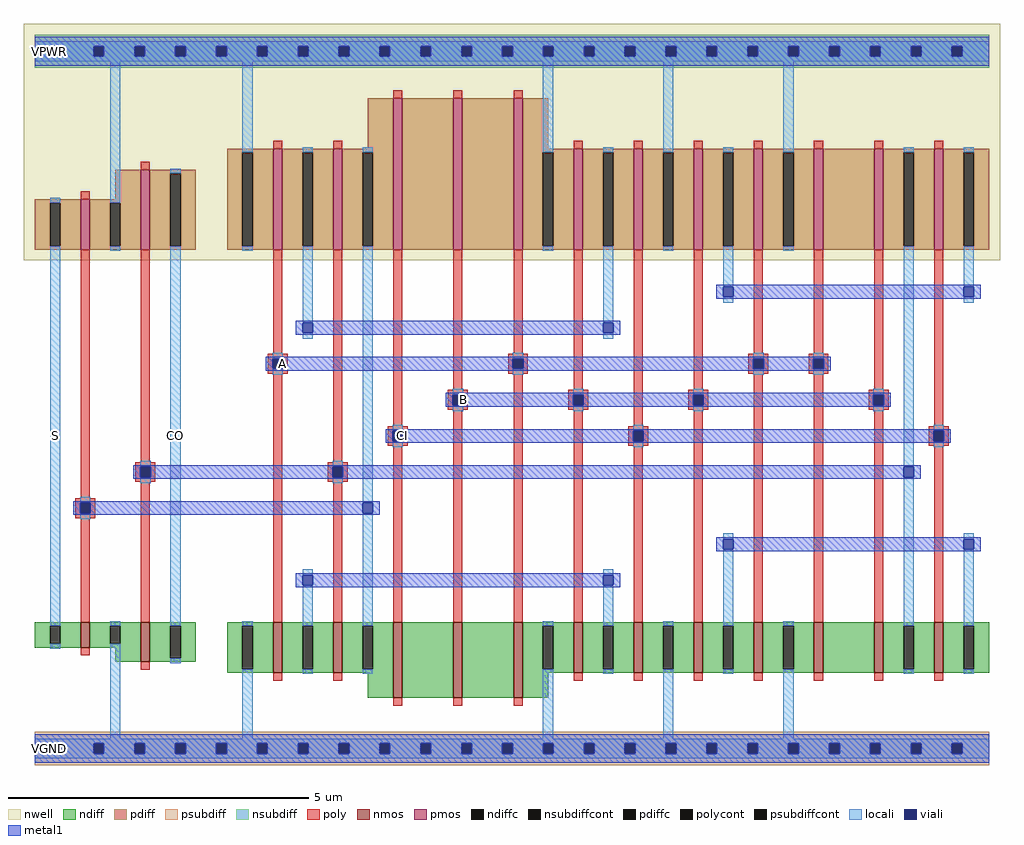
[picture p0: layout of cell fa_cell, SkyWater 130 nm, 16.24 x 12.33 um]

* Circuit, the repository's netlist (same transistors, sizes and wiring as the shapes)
* 28T mirror full adder, sizing S2 = S1 + LE-sized CO inverter (W = k * W_unit, k = stack depth of the branch)
* W_unit: nfet 0.42 um, pfet 0.84 um (le.wn_unit_um / le.wp_unit_um), L = 0.15 um
* COb = ~MAJ(A,B,CI) (carry gate, 10T) ; CO = ~COb (inverter)
* Sb  = ~(A^B^CI)     (sum gate using COb, 14T) ; S = ~Sb (inverter)
.subckt fa_cell A B CI S CO VPWR VGND
* ---- carry gate: PUN (k=2) ----
XPC1 cpx  A  VPWR VPWR sky130_fd_pr__pfet_01v8 W=1.68 L=0.15
XPC2 cpx  B  VPWR VPWR sky130_fd_pr__pfet_01v8 W=1.68 L=0.15
XPC3 COb  CI cpx  VPWR sky130_fd_pr__pfet_01v8 W=1.68 L=0.15
XPC4 cpy  A  VPWR VPWR sky130_fd_pr__pfet_01v8 W=1.68 L=0.15
XPC5 COb  B  cpy  VPWR sky130_fd_pr__pfet_01v8 W=1.68 L=0.15
* ---- carry gate: PDN (k=2) ----
XNC1 cnx  A  VGND VGND sky130_fd_pr__nfet_01v8 W=0.84 L=0.15
XNC2 cnx  B  VGND VGND sky130_fd_pr__nfet_01v8 W=0.84 L=0.15
XNC3 COb  CI cnx  VGND sky130_fd_pr__nfet_01v8 W=0.84 L=0.15
XNC4 cny  A  VGND VGND sky130_fd_pr__nfet_01v8 W=0.84 L=0.15
XNC5 COb  B  cny  VGND sky130_fd_pr__nfet_01v8 W=0.84 L=0.15
* ---- sum gate: PUN, (A|B|CI) parallel + COb series (k=2) ----
XPS1 spz  A   VPWR VPWR sky130_fd_pr__pfet_01v8 W=1.68 L=0.15
XPS2 spz  B   VPWR VPWR sky130_fd_pr__pfet_01v8 W=1.68 L=0.15
XPS3 spz  CI  VPWR VPWR sky130_fd_pr__pfet_01v8 W=1.68 L=0.15
XPS4 Sb   COb spz  VPWR sky130_fd_pr__pfet_01v8 W=1.68 L=0.15
* ---- sum gate: PUN, A-B-CI series (k=3) ----
XPS5 spw1 A   VPWR VPWR sky130_fd_pr__pfet_01v8 W=2.52 L=0.15
XPS6 spw2 B   spw1 VPWR sky130_fd_pr__pfet_01v8 W=2.52 L=0.15
XPS7 Sb   CI  spw2 VPWR sky130_fd_pr__pfet_01v8 W=2.52 L=0.15
* ---- sum gate: PDN (mirror) ----
XNS1 snz  A   VGND VGND sky130_fd_pr__nfet_01v8 W=0.84 L=0.15
XNS2 snz  B   VGND VGND sky130_fd_pr__nfet_01v8 W=0.84 L=0.15
XNS3 snz  CI  VGND VGND sky130_fd_pr__nfet_01v8 W=0.84 L=0.15
XNS4 Sb   COb snz  VGND sky130_fd_pr__nfet_01v8 W=0.84 L=0.15
XNS5 snw1 A   VGND VGND sky130_fd_pr__nfet_01v8 W=1.26 L=0.15
XNS6 snw2 B   snw1 VGND sky130_fd_pr__nfet_01v8 W=1.26 L=0.15
XNS7 Sb   CI  snw2 VGND sky130_fd_pr__nfet_01v8 W=1.26 L=0.15
* ---- output inverters: CO inverter = 1.58 x unit (optimal_sizes, stage 4) ----
XPI1 CO COb VPWR VPWR sky130_fd_pr__pfet_01v8 W=1.33 L=0.15
XNI1 CO COb VGND VGND sky130_fd_pr__nfet_01v8 W=0.66 L=0.15
XPI2 S  Sb  VPWR VPWR sky130_fd_pr__pfet_01v8 W=0.84 L=0.15
XNI2 S  Sb  VGND VGND sky130_fd_pr__nfet_01v8 W=0.42 L=0.15
.ends fa_cell

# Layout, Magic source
magic
tech sky130A
magscale 1 2
<< nwell >>
rect -4 1624 3244 2411
<< nmos >>
rect 185 336 215 420
rect 385 288 415 420
rect 825 252 855 420
rect 1025 252 1055 420
rect 1225 168 1255 420
rect 1425 168 1455 420
rect 1625 168 1655 420
rect 1825 252 1855 420
rect 2025 252 2055 420
rect 2225 252 2255 420
rect 2425 252 2455 420
rect 2625 252 2655 420
rect 2825 252 2855 420
rect 3025 252 3055 420
<< pmos >>
rect 185 1660 215 1828
rect 385 1660 415 1926
rect 825 1660 855 1996
rect 1025 1660 1055 1996
rect 1225 1660 1255 2164
rect 1425 1660 1455 2164
rect 1625 1660 1655 2164
rect 1825 1660 1855 1996
rect 2025 1660 2055 1996
rect 2225 1660 2255 1996
rect 2425 1660 2455 1996
rect 2625 1660 2655 1996
rect 2825 1660 2855 1996
rect 3025 1660 3055 1996
<< ndiff >>
rect 32 408 185 420
rect 32 348 83 408
rect 117 348 185 408
rect 32 336 185 348
rect 215 408 385 420
rect 215 348 283 408
rect 317 348 385 408
rect 215 336 385 348
rect 300 288 385 336
rect 415 408 568 420
rect 415 300 483 408
rect 517 300 568 408
rect 415 288 568 300
rect 672 408 825 420
rect 672 264 723 408
rect 757 264 825 408
rect 672 252 825 264
rect 855 408 1025 420
rect 855 264 923 408
rect 957 264 1025 408
rect 855 252 1025 264
rect 1055 408 1225 420
rect 1055 264 1123 408
rect 1157 264 1225 408
rect 1055 252 1225 264
rect 1140 168 1225 252
rect 1255 168 1425 420
rect 1455 168 1625 420
rect 1655 408 1825 420
rect 1655 264 1723 408
rect 1757 264 1825 408
rect 1655 252 1825 264
rect 1855 408 2025 420
rect 1855 264 1923 408
rect 1957 264 2025 408
rect 1855 252 2025 264
rect 2055 408 2225 420
rect 2055 264 2123 408
rect 2157 264 2225 408
rect 2055 252 2225 264
rect 2255 408 2425 420
rect 2255 264 2323 408
rect 2357 264 2425 408
rect 2255 252 2425 264
rect 2455 408 2625 420
rect 2455 264 2523 408
rect 2557 264 2625 408
rect 2455 252 2625 264
rect 2655 252 2825 420
rect 2855 408 3025 420
rect 2855 264 2923 408
rect 2957 264 3025 408
rect 2855 252 3025 264
rect 3055 408 3208 420
rect 3055 264 3123 408
rect 3157 264 3208 408
rect 3055 252 3208 264
rect 1655 168 1740 252
<< pdiff >>
rect 1140 1996 1225 2164
rect 672 1984 825 1996
rect 300 1828 385 1926
rect 32 1816 185 1828
rect 32 1672 83 1816
rect 117 1672 185 1816
rect 32 1660 185 1672
rect 215 1816 385 1828
rect 215 1672 283 1816
rect 317 1672 385 1816
rect 215 1660 385 1672
rect 415 1914 568 1926
rect 415 1672 483 1914
rect 517 1672 568 1914
rect 415 1660 568 1672
rect 672 1672 723 1984
rect 757 1672 825 1984
rect 672 1660 825 1672
rect 855 1984 1025 1996
rect 855 1672 923 1984
rect 957 1672 1025 1984
rect 855 1660 1025 1672
rect 1055 1984 1225 1996
rect 1055 1672 1123 1984
rect 1157 1672 1225 1984
rect 1055 1660 1225 1672
rect 1255 1660 1425 2164
rect 1455 1660 1625 2164
rect 1655 1996 1740 2164
rect 1655 1984 1825 1996
rect 1655 1672 1723 1984
rect 1757 1672 1825 1984
rect 1655 1660 1825 1672
rect 1855 1984 2025 1996
rect 1855 1672 1923 1984
rect 1957 1672 2025 1984
rect 1855 1660 2025 1672
rect 2055 1984 2225 1996
rect 2055 1672 2123 1984
rect 2157 1672 2225 1984
rect 2055 1660 2225 1672
rect 2255 1984 2425 1996
rect 2255 1672 2323 1984
rect 2357 1672 2425 1984
rect 2255 1660 2425 1672
rect 2455 1984 2625 1996
rect 2455 1672 2523 1984
rect 2557 1672 2625 1984
rect 2455 1660 2625 1672
rect 2655 1660 2825 1996
rect 2855 1984 3025 1996
rect 2855 1672 2923 1984
rect 2957 1672 3025 1984
rect 2855 1660 3025 1672
rect 3055 1984 3208 1996
rect 3055 1672 3123 1984
rect 3157 1672 3208 1984
rect 3055 1660 3208 1672
<< ndiffc >>
rect 83 348 117 408
rect 283 348 317 408
rect 483 300 517 408
rect 723 264 757 408
rect 923 264 957 408
rect 1123 264 1157 408
rect 1723 264 1757 408
rect 1923 264 1957 408
rect 2123 264 2157 408
rect 2323 264 2357 408
rect 2523 264 2557 408
rect 2923 264 2957 408
rect 3123 264 3157 408
<< pdiffc >>
rect 83 1672 117 1816
rect 283 1672 317 1816
rect 483 1672 517 1914
rect 723 1672 757 1984
rect 923 1672 957 1984
rect 1123 1672 1157 1984
rect 1723 1672 1757 1984
rect 1923 1672 1957 1984
rect 2123 1672 2157 1984
rect 2323 1672 2357 1984
rect 2523 1672 2557 1984
rect 2923 1672 2957 1984
rect 3123 1672 3157 1984
<< psubdiff >>
rect 32 17 3208 55
rect 32 -17 92 17
rect 126 -17 228 17
rect 262 -17 364 17
rect 398 -17 500 17
rect 534 -17 636 17
rect 670 -17 772 17
rect 806 -17 908 17
rect 942 -17 1044 17
rect 1078 -17 1180 17
rect 1214 -17 1316 17
rect 1350 -17 1452 17
rect 1486 -17 1588 17
rect 1622 -17 1724 17
rect 1758 -17 1860 17
rect 1894 -17 1996 17
rect 2030 -17 2132 17
rect 2166 -17 2268 17
rect 2302 -17 2404 17
rect 2438 -17 2540 17
rect 2574 -17 2676 17
rect 2710 -17 2812 17
rect 2846 -17 2948 17
rect 2982 -17 3084 17
rect 3118 -17 3208 17
rect 32 -55 3208 -17
<< nsubdiff >>
rect 32 2337 3208 2375
rect 32 2303 92 2337
rect 126 2303 228 2337
rect 262 2303 364 2337
rect 398 2303 500 2337
rect 534 2303 636 2337
rect 670 2303 772 2337
rect 806 2303 908 2337
rect 942 2303 1044 2337
rect 1078 2303 1180 2337
rect 1214 2303 1316 2337
rect 1350 2303 1452 2337
rect 1486 2303 1588 2337
rect 1622 2303 1724 2337
rect 1758 2303 1860 2337
rect 1894 2303 1996 2337
rect 2030 2303 2132 2337
rect 2166 2303 2268 2337
rect 2302 2303 2404 2337
rect 2438 2303 2540 2337
rect 2574 2303 2676 2337
rect 2710 2303 2812 2337
rect 2846 2303 2948 2337
rect 2982 2303 3084 2337
rect 3118 2303 3208 2337
rect 32 2265 3208 2303
<< psubdiffcont >>
rect 92 -17 126 17
rect 228 -17 262 17
rect 364 -17 398 17
rect 500 -17 534 17
rect 636 -17 670 17
rect 772 -17 806 17
rect 908 -17 942 17
rect 1044 -17 1078 17
rect 1180 -17 1214 17
rect 1316 -17 1350 17
rect 1452 -17 1486 17
rect 1588 -17 1622 17
rect 1724 -17 1758 17
rect 1860 -17 1894 17
rect 1996 -17 2030 17
rect 2132 -17 2166 17
rect 2268 -17 2302 17
rect 2404 -17 2438 17
rect 2540 -17 2574 17
rect 2676 -17 2710 17
rect 2812 -17 2846 17
rect 2948 -17 2982 17
rect 3084 -17 3118 17
<< nsubdiffcont >>
rect 92 2303 126 2337
rect 228 2303 262 2337
rect 364 2303 398 2337
rect 500 2303 534 2337
rect 636 2303 670 2337
rect 772 2303 806 2337
rect 908 2303 942 2337
rect 1044 2303 1078 2337
rect 1180 2303 1214 2337
rect 1316 2303 1350 2337
rect 1452 2303 1486 2337
rect 1588 2303 1622 2337
rect 1724 2303 1758 2337
rect 1860 2303 1894 2337
rect 1996 2303 2030 2337
rect 2132 2303 2166 2337
rect 2268 2303 2302 2337
rect 2404 2303 2438 2337
rect 2540 2303 2574 2337
rect 2676 2303 2710 2337
rect 2812 2303 2846 2337
rect 2948 2303 2982 2337
rect 3084 2303 3118 2337
<< poly >>
rect 1225 2164 1255 2190
rect 1425 2164 1455 2190
rect 1625 2164 1655 2190
rect 825 1996 855 2022
rect 1025 1996 1055 2022
rect 385 1926 415 1952
rect 185 1828 215 1854
rect 1825 1996 1855 2022
rect 2025 1996 2055 2022
rect 2225 1996 2255 2022
rect 2425 1996 2455 2022
rect 2625 1996 2655 2022
rect 2825 1996 2855 2022
rect 3025 1996 3055 2022
rect 185 833 215 1660
rect 385 953 415 1660
rect 825 1313 855 1660
rect 807 1297 873 1313
rect 807 1263 823 1297
rect 857 1263 873 1297
rect 807 1247 873 1263
rect 367 937 433 953
rect 367 903 383 937
rect 417 903 433 937
rect 367 887 433 903
rect 167 817 233 833
rect 167 783 183 817
rect 217 783 233 817
rect 167 767 233 783
rect 185 420 215 767
rect 385 420 415 887
rect 825 420 855 1247
rect 1025 953 1055 1660
rect 1225 1073 1255 1660
rect 1425 1193 1455 1660
rect 1625 1313 1655 1660
rect 1607 1297 1673 1313
rect 1607 1263 1623 1297
rect 1657 1263 1673 1297
rect 1607 1247 1673 1263
rect 1407 1177 1473 1193
rect 1407 1143 1423 1177
rect 1457 1143 1473 1177
rect 1407 1127 1473 1143
rect 1207 1057 1273 1073
rect 1207 1023 1223 1057
rect 1257 1023 1273 1057
rect 1207 1007 1273 1023
rect 1007 937 1073 953
rect 1007 903 1023 937
rect 1057 903 1073 937
rect 1007 887 1073 903
rect 1025 420 1055 887
rect 1225 420 1255 1007
rect 1425 420 1455 1127
rect 1625 420 1655 1247
rect 1825 1193 1855 1660
rect 1807 1177 1873 1193
rect 1807 1143 1823 1177
rect 1857 1143 1873 1177
rect 1807 1127 1873 1143
rect 1825 420 1855 1127
rect 2025 1073 2055 1660
rect 2225 1193 2255 1660
rect 2425 1313 2455 1660
rect 2625 1313 2655 1660
rect 2407 1297 2473 1313
rect 2407 1263 2423 1297
rect 2457 1263 2473 1297
rect 2407 1247 2473 1263
rect 2607 1297 2673 1313
rect 2607 1263 2623 1297
rect 2657 1263 2673 1297
rect 2607 1247 2673 1263
rect 2207 1177 2273 1193
rect 2207 1143 2223 1177
rect 2257 1143 2273 1177
rect 2207 1127 2273 1143
rect 2007 1057 2073 1073
rect 2007 1023 2023 1057
rect 2057 1023 2073 1057
rect 2007 1007 2073 1023
rect 2025 420 2055 1007
rect 2225 420 2255 1127
rect 2425 420 2455 1247
rect 2625 420 2655 1247
rect 2825 1193 2855 1660
rect 2807 1177 2873 1193
rect 2807 1143 2823 1177
rect 2857 1143 2873 1177
rect 2807 1127 2873 1143
rect 2825 420 2855 1127
rect 3025 1073 3055 1660
rect 3007 1057 3073 1073
rect 3007 1023 3023 1057
rect 3057 1023 3073 1057
rect 3007 1007 3073 1023
rect 3025 420 3055 1007
rect 185 310 215 336
rect 385 262 415 288
rect 825 226 855 252
rect 1025 226 1055 252
rect 1825 226 1855 252
rect 2025 226 2055 252
rect 2225 226 2255 252
rect 2425 226 2455 252
rect 2625 226 2655 252
rect 2825 226 2855 252
rect 3025 226 3055 252
rect 1225 142 1255 168
rect 1425 142 1455 168
rect 1625 142 1655 168
<< polycont >>
rect 823 1263 857 1297
rect 383 903 417 937
rect 183 783 217 817
rect 1623 1263 1657 1297
rect 1423 1143 1457 1177
rect 1223 1023 1257 1057
rect 1023 903 1057 937
rect 1823 1143 1857 1177
rect 2423 1263 2457 1297
rect 2623 1263 2657 1297
rect 2223 1143 2257 1177
rect 2023 1023 2057 1057
rect 2823 1143 2857 1177
rect 3023 1023 3057 1057
<< locali >>
rect 32 2337 3208 2353
rect 32 2303 92 2337
rect 126 2303 228 2337
rect 262 2303 364 2337
rect 398 2303 500 2337
rect 534 2303 636 2337
rect 670 2303 772 2337
rect 806 2303 908 2337
rect 942 2303 1044 2337
rect 1078 2303 1180 2337
rect 1214 2303 1316 2337
rect 1350 2303 1452 2337
rect 1486 2303 1588 2337
rect 1622 2303 1724 2337
rect 1758 2303 1860 2337
rect 1894 2303 1996 2337
rect 2030 2303 2132 2337
rect 2166 2303 2268 2337
rect 2302 2303 2404 2337
rect 2438 2303 2540 2337
rect 2574 2303 2676 2337
rect 2710 2303 2812 2337
rect 2846 2303 2948 2337
rect 2982 2303 3084 2337
rect 3118 2303 3208 2337
rect 32 2287 3208 2303
rect 83 1816 117 1832
rect 83 408 117 1672
rect 283 1816 317 2287
rect 723 1984 757 2287
rect 283 1656 317 1672
rect 483 1914 517 1930
rect 383 937 417 957
rect 383 883 417 903
rect 183 817 217 837
rect 183 763 217 783
rect 83 332 117 348
rect 283 408 317 424
rect 283 33 317 348
rect 483 408 517 1672
rect 723 1656 757 1672
rect 923 1984 957 2000
rect 923 1417 957 1672
rect 923 1363 957 1383
rect 1123 1984 1157 2000
rect 823 1297 857 1317
rect 823 1243 857 1263
rect 1023 937 1057 957
rect 1023 883 1057 903
rect 1123 817 1157 1672
rect 1723 1984 1757 2287
rect 1723 1656 1757 1672
rect 1923 1984 1957 2000
rect 1923 1417 1957 1672
rect 2123 1984 2157 2287
rect 2123 1656 2157 1672
rect 2323 1984 2357 2000
rect 2323 1537 2357 1672
rect 2523 1984 2557 2287
rect 2523 1656 2557 1672
rect 2923 1984 2957 2000
rect 2323 1483 2357 1503
rect 1923 1363 1957 1383
rect 1623 1297 1657 1317
rect 1623 1243 1657 1263
rect 2423 1297 2457 1317
rect 2423 1243 2457 1263
rect 2623 1297 2657 1317
rect 2623 1243 2657 1263
rect 1423 1177 1457 1197
rect 1423 1123 1457 1143
rect 1823 1177 1857 1197
rect 1823 1123 1857 1143
rect 2223 1177 2257 1197
rect 2223 1123 2257 1143
rect 2823 1177 2857 1197
rect 2823 1123 2857 1143
rect 1223 1057 1257 1077
rect 1223 1003 1257 1023
rect 2023 1057 2057 1077
rect 2023 1003 2057 1023
rect 923 577 957 597
rect 483 284 517 300
rect 723 408 757 424
rect 723 33 757 264
rect 923 408 957 543
rect 923 248 957 264
rect 1123 408 1157 783
rect 2923 937 2957 1672
rect 3123 1984 3157 2000
rect 3123 1537 3157 1672
rect 3123 1483 3157 1503
rect 3023 1057 3057 1077
rect 3023 1003 3057 1023
rect 2323 697 2357 717
rect 1923 577 1957 597
rect 1123 248 1157 264
rect 1723 408 1757 424
rect 1723 33 1757 264
rect 1923 408 1957 543
rect 1923 248 1957 264
rect 2123 408 2157 424
rect 2123 33 2157 264
rect 2323 408 2357 663
rect 2323 248 2357 264
rect 2523 408 2557 424
rect 2523 33 2557 264
rect 2923 408 2957 903
rect 2923 248 2957 264
rect 3123 697 3157 717
rect 3123 408 3157 663
rect 3123 248 3157 264
rect 32 17 3208 33
rect 32 -17 92 17
rect 126 -17 228 17
rect 262 -17 364 17
rect 398 -17 500 17
rect 534 -17 636 17
rect 670 -17 772 17
rect 806 -17 908 17
rect 942 -17 1044 17
rect 1078 -17 1180 17
rect 1214 -17 1316 17
rect 1350 -17 1452 17
rect 1486 -17 1588 17
rect 1622 -17 1724 17
rect 1758 -17 1860 17
rect 1894 -17 1996 17
rect 2030 -17 2132 17
rect 2166 -17 2268 17
rect 2302 -17 2404 17
rect 2438 -17 2540 17
rect 2574 -17 2676 17
rect 2710 -17 2812 17
rect 2846 -17 2948 17
rect 2982 -17 3084 17
rect 3118 -17 3208 17
rect 32 -33 3208 -17
<< viali >>
rect 92 2303 126 2337
rect 228 2303 262 2337
rect 364 2303 398 2337
rect 500 2303 534 2337
rect 636 2303 670 2337
rect 772 2303 806 2337
rect 908 2303 942 2337
rect 1044 2303 1078 2337
rect 1180 2303 1214 2337
rect 1316 2303 1350 2337
rect 1452 2303 1486 2337
rect 1588 2303 1622 2337
rect 1724 2303 1758 2337
rect 1860 2303 1894 2337
rect 1996 2303 2030 2337
rect 2132 2303 2166 2337
rect 2268 2303 2302 2337
rect 2404 2303 2438 2337
rect 2540 2303 2574 2337
rect 2676 2303 2710 2337
rect 2812 2303 2846 2337
rect 2948 2303 2982 2337
rect 3084 2303 3118 2337
rect 383 903 417 937
rect 183 783 217 817
rect 923 1383 957 1417
rect 823 1263 857 1297
rect 1023 903 1057 937
rect 2323 1503 2357 1537
rect 1923 1383 1957 1417
rect 1623 1263 1657 1297
rect 2423 1263 2457 1297
rect 2623 1263 2657 1297
rect 1423 1143 1457 1177
rect 1823 1143 1857 1177
rect 2223 1143 2257 1177
rect 2823 1143 2857 1177
rect 1223 1023 1257 1057
rect 2023 1023 2057 1057
rect 1123 783 1157 817
rect 923 543 957 577
rect 3123 1503 3157 1537
rect 3023 1023 3057 1057
rect 2923 903 2957 937
rect 2323 663 2357 697
rect 1923 543 1957 577
rect 3123 663 3157 697
rect 92 -17 126 17
rect 228 -17 262 17
rect 364 -17 398 17
rect 500 -17 534 17
rect 636 -17 670 17
rect 772 -17 806 17
rect 908 -17 942 17
rect 1044 -17 1078 17
rect 1180 -17 1214 17
rect 1316 -17 1350 17
rect 1452 -17 1486 17
rect 1588 -17 1622 17
rect 1724 -17 1758 17
rect 1860 -17 1894 17
rect 1996 -17 2030 17
rect 2132 -17 2166 17
rect 2268 -17 2302 17
rect 2404 -17 2438 17
rect 2540 -17 2574 17
rect 2676 -17 2710 17
rect 2812 -17 2846 17
rect 2948 -17 2982 17
rect 3084 -17 3118 17
<< metal1 >>
rect 32 2337 3208 2368
rect 32 2303 92 2337
rect 126 2303 228 2337
rect 262 2303 364 2337
rect 398 2303 500 2337
rect 534 2303 636 2337
rect 670 2303 772 2337
rect 806 2303 908 2337
rect 942 2303 1044 2337
rect 1078 2303 1180 2337
rect 1214 2303 1316 2337
rect 1350 2303 1452 2337
rect 1486 2303 1588 2337
rect 1622 2303 1724 2337
rect 1758 2303 1860 2337
rect 1894 2303 1996 2337
rect 2030 2303 2132 2337
rect 2166 2303 2268 2337
rect 2302 2303 2404 2337
rect 2438 2303 2540 2337
rect 2574 2303 2676 2337
rect 2710 2303 2812 2337
rect 2846 2303 2948 2337
rect 2982 2303 3084 2337
rect 3118 2303 3208 2337
rect 32 2272 3208 2303
rect 2300 1537 3180 1543
rect 2300 1503 2323 1537
rect 2357 1503 3123 1537
rect 3157 1503 3180 1537
rect 2300 1497 3180 1503
rect 900 1417 1980 1423
rect 900 1383 923 1417
rect 957 1383 1923 1417
rect 1957 1383 1980 1417
rect 900 1377 1980 1383
rect 800 1297 2680 1303
rect 800 1263 823 1297
rect 857 1263 1623 1297
rect 1657 1263 2423 1297
rect 2457 1263 2623 1297
rect 2657 1263 2680 1297
rect 800 1257 2680 1263
rect 1400 1177 2880 1183
rect 1400 1143 1423 1177
rect 1457 1143 1823 1177
rect 1857 1143 2223 1177
rect 2257 1143 2823 1177
rect 2857 1143 2880 1177
rect 1400 1137 2880 1143
rect 1200 1057 3080 1063
rect 1200 1023 1223 1057
rect 1257 1023 2023 1057
rect 2057 1023 3023 1057
rect 3057 1023 3080 1057
rect 1200 1017 3080 1023
rect 360 937 2980 943
rect 360 903 383 937
rect 417 903 1023 937
rect 1057 903 2923 937
rect 2957 903 2980 937
rect 360 897 2980 903
rect 160 817 1180 823
rect 160 783 183 817
rect 217 783 1123 817
rect 1157 783 1180 817
rect 160 777 1180 783
rect 2300 697 3180 703
rect 2300 663 2323 697
rect 2357 663 3123 697
rect 3157 663 3180 697
rect 2300 657 3180 663
rect 900 577 1980 583
rect 900 543 923 577
rect 957 543 1923 577
rect 1957 543 1980 577
rect 900 537 1980 543
rect 32 17 3208 48
rect 32 -17 92 17
rect 126 -17 228 17
rect 262 -17 364 17
rect 398 -17 500 17
rect 534 -17 636 17
rect 670 -17 772 17
rect 806 -17 908 17
rect 942 -17 1044 17
rect 1078 -17 1180 17
rect 1214 -17 1316 17
rect 1350 -17 1452 17
rect 1486 -17 1588 17
rect 1622 -17 1724 17
rect 1758 -17 1860 17
rect 1894 -17 1996 17
rect 2030 -17 2132 17
rect 2166 -17 2268 17
rect 2302 -17 2404 17
rect 2438 -17 2540 17
rect 2574 -17 2676 17
rect 2710 -17 2812 17
rect 2846 -17 2948 17
rect 2982 -17 3084 17
rect 3118 -17 3208 17
rect 32 -48 3208 -17
<< labels >>
rlabel metal1 840 1257 874 1303 0 A
port 1 nsew
rlabel metal1 1440 1137 1474 1183 0 B
port 2 nsew
rlabel metal1 1240 1017 1274 1063 0 CI
port 3 nsew
rlabel locali 83 1020 117 1060 0 S
port 4 nsew
rlabel locali 483 1020 517 1060 0 CO
port 5 nsew
rlabel metal1 32 2272 132 2368 0 VPWR
port 6 nsew
rlabel metal1 32 -48 132 48 0 VGND
port 7 nsew
<< end >>
